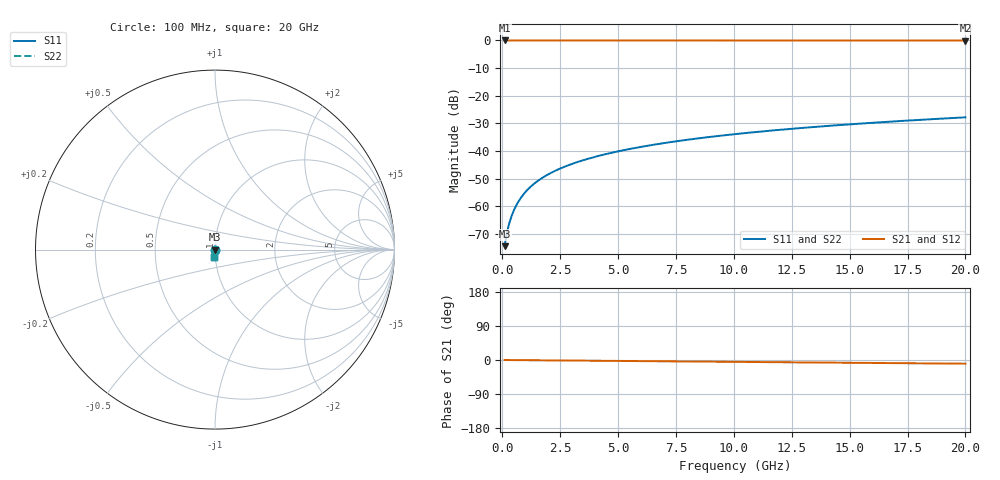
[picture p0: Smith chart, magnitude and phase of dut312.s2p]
! Touchstone file exported from HFSS 2026.1.0
!  File:  C:/ffzhzh/LocalFiles/Ansys_Project_Files/temp_train_TSV_312_1783018134_55676.aedt
!  Generated:  02:50:28 AM Jul  3, 2026
!  Design:  TSV
!  Project:  temp_train_TSV_312_1783018134_55676
! Variables:
!  h_bsmrdl = 2um
!  h_ox = 20um
!  h_rdl = 5um
!  h_sub = 99.87um
!  h_tmrdl = 5um
!  h_tsv = 99.87um
!  h_via = 3um
!  l_bsmrdl = 300um
!  l_sub = 424.44um
!  l_tmrdl = 200um
!  m_sub = 200um
!  pitch = 39.39um
!  r_tsv = 12.22um
!  s_tmrdl = 10um
!  w_bsmrdl = 18um
!  w_sub = 500um
!  w_tmrdl = 12um
!  x_tsv_center1 = 206um
!  x_tsv_center2 = 524um
!  x_tsv_center3 = 736um
!  x_tsv_center4 = 1054um
!  x_tsv_center5 = 1266um
!  x_tsv_center6 = 1584um
# GHz S MA R 50.000000
! Terminal data exported
! Port[1] = TSV1_1_T1
! Port[2] = TSV1_1_T2
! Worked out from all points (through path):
!   200 points, 100 MHz to 20 GHz, reference 50 ohm
!   highest |S21| = 0.00 dB at 100 MHz (marker M1); lowest = 0.0 dB at 20 GHz (marker M2)
!   group delay of S21, straight-line fit = 1.35 ps
!   lowest |S11| = -74.5 dB at 100 MHz (marker M3), VSWR 1.00, Z = 50 - j0.0149 ohm
!   |S11| at or under -10 dB: start of sweep to end of sweep
!   |S22| runs from -74.5 to -27.8 dB; largest |S21 - S12| = 3.4e-15
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0.1  0.000189 -51.9  0.9999 -0.1  0.9999 -0.1  0.000189 -51.9
! Gamma 0 0 0 0
! Port Impedance 50 0 50 0
0.2  0.0003301 -66.1  0.9999 -0.1  0.9999 -0.1  0.0003301 -66.1
0.3  0.0004893 -71.1  0.9998 -0.2  0.9998 -0.2  0.0004893 -71.1
0.4  0.00066 -73.5  0.9998 -0.2  0.9998 -0.2  0.00066 -73.5
0.5  0.0008397 -75.0  0.9998 -0.3  0.9998 -0.3  0.0008397 -75.0
0.7  0.001218 -77.1  0.9997 -0.4  0.9997 -0.4  0.001218 -77.1
0.8  0.001412 -78.0  0.9997 -0.4  0.9997 -0.4  0.001412 -78.0
1  0.001807 -79.5  0.9997 -0.5  0.9997 -0.5  0.001807 -79.5
1.2  0.002206 -80.7  0.9996 -0.6  0.9996 -0.6  0.002206 -80.7
1.4  0.002606 -81.7  0.9996 -0.7  0.9996 -0.7  0.002606 -81.7
1.7  0.003205 -82.9  0.9996 -0.8  0.9996 -0.8  0.003205 -82.9
2  0.003804 -83.9  0.9995 -1.0  0.9995 -1.0  0.003804 -83.9
2.7  0.005203 -85.5  0.9995 -1.3  0.9995 -1.3  0.005203 -85.5
3.5  0.006806 -86.7  0.9994 -1.7  0.9994 -1.7  0.006806 -86.7
4.2  0.008216 -87.5  0.9993 -2.1  0.9993 -2.1  0.008216 -87.5
5  0.009835 -88.3  0.9992 -2.5  0.9992 -2.5  0.009835 -88.3
6.8  0.0135 -89.8  0.9991 -3.3  0.9991 -3.3  0.0135 -89.7
8.3  0.01657 -90.8  0.9989 -4.1  0.9989 -4.1  0.01657 -90.8
10.1  0.02026 -92.0  0.9988 -4.9  0.9988 -4.9  0.02026 -92.0
13.4  0.02703 -94.0  0.9985 -6.5  0.9985 -6.5  0.02703 -94.0
16.7  0.0338 -95.9  0.9981 -8.1  0.9981 -8.1  0.0338 -95.9
20  0.04058 -97.7  0.9977 -9.7  0.9977 -9.7  0.04058 -97.7
